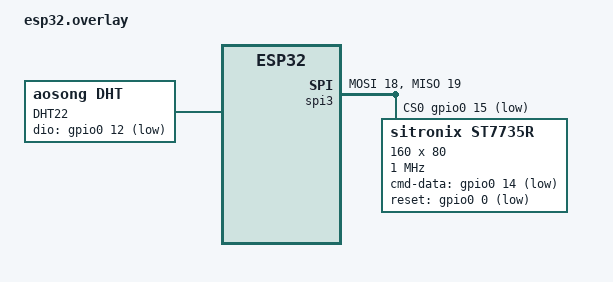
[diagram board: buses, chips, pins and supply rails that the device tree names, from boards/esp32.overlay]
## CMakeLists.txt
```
# Find Zephyr. This also loads Zephyr's build system.
cmake_minimum_required(VERSION 3.13.1)
find_package(Zephyr REQUIRED HINTS $ENV{ZEPHYR_BASE})
project(esp32_room_node)

target_sources(app PRIVATE
    src/main.c
    src/gui.c
    src/gui.h
    src/config.c
    src/config.h
)
```

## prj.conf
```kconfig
CONFIG_WIFI=n
#CONFIG_WIFI_ESP32=y
CONFIG_HEAP_MEM_POOL_SIZE=98304

CONFIG_NETWORKING=y
CONFIG_NET_L2_ETHERNET=y

CONFIG_NET_IPV6=n
CONFIG_NET_IPV4=y
CONFIG_NET_DHCPV4=y

CONFIG_NET_MGMT=y
CONFIG_NET_MGMT_EVENT=y

CONFIG_LOG_STRDUP_BUF_COUNT=16
#CONFIG_LOG_MODE_IMMEDIATE=y
CONFIG_LOG_PROCESS_THREAD_SLEEP_MS=20
CONFIG_NET_LOG=y
CONFIG_NET_SHELL=n

CONFIG_MBEDTLS=y
CONFIG_MBEDTLS_ENTROPY_ENABLED=y
CONFIG_MBEDTLS_KEY_EXCHANGE_ECDHE_ECDSA_ENABLED=y
CONFIG_MBEDTLS_ECP_ALL_ENABLED=y

CONFIG_SPI=y
CONFIG_SENSOR=y
CONFIG_DHT=y
CONFIG_SENSOR_LOG_LEVEL_DBG=y

CONFIG_CBPRINTF_FP_SUPPORT=y

# Display
CONFIG_DISPLAY=y
CONFIG_ST7735R=y
CONFIG_LVGL=y
CONFIG_LVGL_USE_LABEL=y
CONFIG_LVGL_USE_GROUP=y
CONFIG_LVGL_USE_CONT=y
CONFIG_LVGL_USE_BTN=y
CONFIG_LVGL_USE_CHECKBOX=y
CONFIG_LVGL_USE_PAGE=y
CONFIG_LVGL_USE_BAR=y
CONFIG_LVGL_USE_SLIDER=y
CONFIG_LVGL_USE_THEME_MATERIAL=y
CONFIG_LVGL_THEME_MATERIAL_DARK=y
CONFIG_LVGL_THEME_DEFAULT_COLOR_PRIMARY_WHITE=y
CONFIG_LVGL_THEME_DEFAULT_COLOR_SECONDARY_BLACK=y
CONFIG_LVGL_FONT_MONTSERRAT_32=y
CONFIG_LVGL_FONT_MONTSERRAT_16=y
CONFIG_LVGL_FONT_MONTSERRAT_10=y
CONFIG_LVGL_THEME_DEFAULT_FONT_SMALL_MONTSERRAT_16=y
CONFIG_LVGL_THEME_DEFAULT_FONT_NORMAL_MONTSERRAT_16=y
CONFIG_LVGL_DISPLAY_DEV_NAME="ST7735R"
CONFIG_LVGL_HOR_RES_MAX=160
CONFIG_LVGL_VER_RES_MAX=80
CONFIG_LVGL_BITS_PER_PIXEL=16
CONFIG_LVGL_COLOR_DEPTH_16=y
CONFIG_LVGL_COLOR_16_SWAP=y
CONFIG_LVGL_DPI=100
#CONFIG_LVGL_ANTIALIAS=y
CONFIG_LVGL_USE_ANIMATION=y
CONFIG_LVGL_LOG_LEVEL_WRN=y

CONFIG_PWM=y
CONFIG_PWM_LED_ESP32=y
CONFIG_PWM_LED_ESP32_HS_TIMER0_FREQ=50
CONFIG_PWM_LED_ESP32_HS_TIMER0_BIT_NUM=15

CONFIG_FLASH=y
CONFIG_FLASH_MAP=y
CONFIG_SETTINGS=y
CONFIG_NVS=y
```

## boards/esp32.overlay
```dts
/ {
	dht22 {
		compatible = "aosong,dht";
		status = "okay";
		label = "DHT22";
		dio-gpios = <&gpio0 12 (GPIO_PULL_UP | GPIO_ACTIVE_LOW)>;
		dht22;
	};
};

&spi3 {
    miso-pin = <19>;
	mosi-pin = <18>;
	sclk-pin = <5>;
	csel-pin = <15>;

    cs-gpios = <&gpio0 15 GPIO_ACTIVE_LOW>;

	st7735r@0 {
		compatible = "sitronix,st7735r";
		label = "ST7735R";
		spi-max-frequency = <1000000>;
		reg = <0>;
		cmd-data-gpios = <&gpio0 14 GPIO_ACTIVE_LOW>;
		reset-gpios = <&gpio0 0 GPIO_ACTIVE_LOW>;
		width = <160>;
		height = <80>;
		x-offset = <1>;
		y-offset = <26>;
		madctl = <0x60>;
		colmod = <0x55>;
		vmctr1 = <0x0e>;
		pwctr1 = [a2 02 84];
		pwctr2 = [c5];
		pwctr3 = [0a 00];
		pwctr4 = [8a 2a];
		pwctr5 = [8a ee];
		frmctr1 = [01 2c 2d];
		frmctr2 = [01 2c 2d];
		frmctr3 = [01 2c 2d 01 2c 2d];
		gamctrp1 = [02 1c 07 12 37 32 29 2d 29 25 2b 39 00 01 03 10];
		gamctrn1 = [03 1d 07 06 2e 2c 29 2d 2e 2e 37 3f 00 00 02 10];
	};
};
```

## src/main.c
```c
#include <logging/log.h>
#include <drivers/gpio.h>
#include <drivers/sensor.h>
#include <drivers/pwm.h>
#include <drivers/counter.h>
#include <sys/byteorder.h>
#include <lvgl.h>
#include <math.h>

#include "gui.h"
#include "config.h"

LOG_MODULE_REGISTER(main);

static const struct device *l_gpio0 = NULL;
static const struct device *l_gpio1 = NULL;
static const struct device *l_dht22 = NULL;
static const struct device *l_pwm = NULL;

static bool l_encoder_pressed;
static int l_encoder_position;

#define GPIO_PIN_LED 13
#define GPIO_PIN_SERVO 27
#define PWM_CHANNEL GPIO_PIN_SERVO
#define GPIO_PIN_BUTTON (34 - 32)  // "A2"
#define GPIO_PIN_ENC1   (39 - 32)  // "A3"
#define GPIO_PIN_ENC2   (36 - 32)  // "A4"

static void input_timer_cb(struct k_timer *timer_id);
K_TIMER_DEFINE(l_input_timer, input_timer_cb, NULL);


static int gpio_init()
{
    int rc;

    l_gpio0 = device_get_binding(DT_LABEL(DT_NODELABEL(gpio0)));
    if (!l_gpio0) {
        LOG_ERR("Failed to open GPIO0 device");
        return 1;
    }

    l_gpio1 = device_get_binding(DT_LABEL(DT_NODELABEL(gpio1)));
    if (!l_gpio1) {
        LOG_ERR("Failed to open GPIO1 device");
        return 1;
    }

    rc = gpio_pin_configure(l_gpio0, GPIO_PIN_LED, GPIO_OUTPUT_LOW);
    if (rc) {
        LOG_ERR("Error configuring pin");
        return 1;
    }

    return 0;
}

static int sensor_init()
{
    l_dht22 = device_get_binding(DT_LABEL(DT_INST(0, aosong_dht)));
    if (!l_dht22) {
        LOG_ERR("Failed to open DHT22");
        return 1;
    }

    return 0;
}

static int pwm_init()
{
    l_pwm = device_get_binding(CONFIG_PWM_LED_ESP32_DEV_NAME_0);
    if (!l_pwm) {
        LOG_ERR("Failed to open PWM device");
        return 1;
    }

    uint64_t cycles = 0;
    int rc = pwm_get_cycles_per_sec(l_pwm, PWM_CHANNEL, &cycles);
    if (rc) {
        LOG_ERR("Failed to get PWM cycles");
        return 1;
    }
    LOG_INF("PWM cycles %lld", cycles);

    return 0;
}

static int servo_set(float duty_ms)
{
    float duty = duty_ms * ((float)CONFIG_PWM_LED_ESP32_HS_TIMER0_FREQ / 1000);
    int period = (1 << CONFIG_PWM_LED_ESP32_HS_TIMER0_BIT_NUM) * duty;
    int rc = pwm_pin_set_cycles(l_pwm, PWM_CHANNEL, 0, period, 0);
    if (rc) {
        LOG_ERR("Failed to set PWM");
        return 1;
    }

    return 0;
}

static void input_timer_cb(struct k_timer *timer_id)
{
    static bool last_state[3];
    const bool state[3] = {
        !gpio_pin_get(l_gpio1, GPIO_PIN_BUTTON),
        !gpio_pin_get(l_gpio1, GPIO_PIN_ENC1),
        !gpio_pin_get(l_gpio1, GPIO_PIN_ENC2),
    };

    l_encoder_pressed = state[0];

    if (state[1] && !last_state[1]) {
        //LOG_INF("Knob %s", state[2] ? "-->" : "<--");
        l_encoder_position += state[2] ? -1 : 1;
    }

    memcpy(last_state, state, sizeof(state));
}

static bool encoder_read_cb(lv_indev_drv_t *drv, lv_indev_data_t*data)
{
    int encoder_position = l_encoder_position;
    static int last_encoder_position;

    data->enc_diff = encoder_position - last_encoder_position;
    data->state = l_encoder_pressed ? LV_INDEV_STATE_PR : LV_INDEV_STATE_REL;

    if (encoder_position - last_encoder_position) {
        LOG_INF("Encoder: %d", encoder_position - last_encoder_position);
    }

    last_encoder_position = encoder_position;
    return false;
}

static int input_init()
{
    int rc = gpio_pin_configure(l_gpio1, GPIO_PIN_BUTTON, GPIO_INPUT);
    if (rc) {
        LOG_ERR("Error configuring pin");
        return 1;
    }

    rc = gpio_pin_configure(l_gpio1, GPIO_PIN_ENC1, GPIO_INPUT);
    if (rc) {
        LOG_ERR("Error configuring pin");
        return 1;
    }

    rc = gpio_pin_configure(l_gpio1, GPIO_PIN_ENC2, GPIO_INPUT);
    if (rc) {
        LOG_ERR("Error configuring pin");
        return 1;
    }

    k_timer_start(&l_input_timer, K_MSEC(5), K_MSEC(2));

    return 0;
}

int main(int argc, char **argv)
{
    LOG_INF("Hello there");

    if (gpio_init()) {
        return 1;
    }

    if (config_init()) {
        return 1;
    }

    if (sensor_init()) {
        return 1;
    }

    if (gui_encoder_init(encoder_read_cb)) {
        return 1;
    }

    if (gui_init()) {
        return 1;
    }

    if (pwm_init()) {
        return 1;
    }

    if (input_init()) {
        return 1;
    }

    int call = 0;
    float wanted_duty = 0.0f;
    float set_duty = 0.0f;
    float temp_f = 0.0f;
    float rh_f = 0.0f;

    while (true) {
        k_sleep(K_MSEC(10));
        if (!(call++ % 128)) {
            gpio_pin_set(l_gpio0, GPIO_PIN_LED, 1);
            if (sensor_sample_fetch(l_dht22)) {
                LOG_ERR("Failed to fetch DHT22 sample");
            }
            gpio_pin_set(l_gpio0, GPIO_PIN_LED, 0);

            struct sensor_value temp;
            struct sensor_value rh;
            if (sensor_channel_get(l_dht22, SENSOR_CHAN_AMBIENT_TEMP, &temp)) {
                LOG_ERR("Failed to read temperature");
            }
            if (sensor_channel_get(l_dht22, SENSOR_CHAN_HUMIDITY, &rh)) {
                LOG_ERR("Failed to read humitidy");
            }

            temp_f = sensor_value_to_double(&temp);
            rh_f = sensor_value_to_double(&rh);

            if (gui_update(call, temp_f, rh_f)) {
                return 1;
            }
        }

        if (temp_f >= 27.0f) {
            config_get_float(CONFIG_IDX_SERVO_LEFT, &wanted_duty);
        }
        if (temp_f < 26.0f) {
            config_get_float(CONFIG_IDX_SERVO_RIGHT, &wanted_duty);
        }

        if (set_duty != wanted_duty) {
            set_duty = wanted_duty;
            if (servo_set(set_duty)) {
                return 1;
            }
        }

        gui_do();
    }

    return 0;
}
```

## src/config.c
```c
#include <logging/log.h>
#include <drivers/flash.h>
#include <storage/flash_map.h>
#include <fs/nvs.h>

#include "config.h"

LOG_MODULE_REGISTER(config);

static struct nvs_fs l_fs;
static float l_values[CONFIG_IDX__LAST] = {
    [CONFIG_IDX_SERVO_LEFT] = 1.0,
    [CONFIG_IDX_SERVO_RIGHT] = 2.0,
};


static int config_read_float(uint16_t addr, float *value)
{
    int rc = nvs_read(&l_fs, addr, value, sizeof(*value));
    return rc != sizeof(*value);
}

static int config_write_float(uint16_t addr, float value)
{
    int rc = nvs_write(&l_fs, addr, &value, sizeof(value));
    if (rc != sizeof(value)) {
        LOG_ERR("Failed to write to NVS");
        return 1;
    }
    return 0;
}

static int config_load(void)
{
    for (int addr = 0; addr < ARRAY_SIZE(l_values); addr++) {
        (void)config_read_float(addr, &l_values[addr]);
    }
    return 0;
}

int config_get_float(enum config_idx index, float *value)
{
    if (index >= ARRAY_SIZE(l_values)) {
        LOG_ERR("Get bad config index");
        return 1;
    }

    *value = l_values[index];
    return 0;
}

int config_set_float(enum config_idx index, float value)
{
    if (index >= ARRAY_SIZE(l_values)) {
        LOG_ERR("Set bad config index");
        return 1;
    }

    l_values[index] = value;
    return config_write_float(index, value);
}

int config_init(void)
{
    struct flash_pages_info page_info = {};
    int rc;

    const struct device *flash = device_get_binding(DT_LABEL(DT_NODELABEL(flash)));
    if (!flash) {
        LOG_ERR("Failed to open flash device");
        return 1;
    }

    const size_t area_size = FLASH_AREA_SIZE(storage);
    l_fs.offset = FLASH_AREA_OFFSET(storage);
    rc = flash_get_page_info_by_offs(flash, l_fs.offset, &page_info);
    if (rc) {
        LOG_ERR("Failed to get page info");
        return 1;
    }
    l_fs.sector_size = page_info.size;
    l_fs.sector_count = area_size / page_info.size;

    LOG_INF("Flash area at 0x%x, page size 0x%x, count %d",
            l_fs.offset, l_fs.sector_size, l_fs.sector_count);

    rc = nvs_init(&l_fs, DT_LABEL(DT_NODELABEL(flash)));
    if (rc) {
        LOG_ERR("Failed to open NVS");
        return 1;
    }

    return config_load();
}
```

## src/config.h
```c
#pragma once

enum config_idx {
    CONFIG_IDX_TRIGGER_TEMP,
    CONFIG_IDX_HYSTERESIS,
    CONFIG_IDX_SERVO_LEFT,   // ms
    CONFIG_IDX_SERVO_RIGHT,  // ms
    CONFIG_IDX__LAST
};

int config_init(void);
int config_get_float(enum config_idx index, float *value);
int config_set_float(enum config_idx index, float value);
```

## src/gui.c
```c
#include <logging/log.h>
#include <drivers/display.h>
#include <lvgl.h>
#include <sys/byteorder.h>

#include "gui.h"
#include "config.h"

LOG_MODULE_REGISTER(gui);

struct config_slider {
    lv_obj_t *slider;
    lv_obj_t *label;
    enum config_idx config_idx;
    const char *format_string;
    float min;
    float max;
    float step;
};

static const struct device *l_display = NULL;
static lv_indev_t *l_lv_encoder;
static lv_obj_t *l_lv_page;
static lv_obj_t *l_lv_temp;
static lv_obj_t *l_lv_rh;
static struct config_slider l_temp_slider = {
    .config_idx = CONFIG_IDX_TRIGGER_TEMP,
    .format_string = "Open at: %.1fC",
    .min = -50.0f,
    .max = 50.0f,
    .step = 0.1f,
};
static struct config_slider l_servo_left_slider = {
    .config_idx = CONFIG_IDX_SERVO_LEFT,
    .format_string = "Servo open: %.2fms",
    .min = 0.0f,
    .max = 3.0f,
    .step = 0.01f,
};
static struct config_slider l_servo_right_slider = {
    .config_idx = CONFIG_IDX_SERVO_RIGHT,
    .format_string = "Servo close: %.2fms",
    .min = 0.0f,
    .max = 3.0f,
    .step = 0.01f,
};

static lv_style_t l_lv_bg_style;
static lv_style_t l_lv_default_style;
static lv_style_t l_lv_slider_indic_style;
static lv_style_t l_lv_tiny_style;
static lv_style_t l_lv_value_style;
static lv_group_t *l_lv_main_group;

static void init_gauge_page(lv_obj_t *parent);
static void init_config_page(lv_obj_t *parent);


static void slider_event_cb(lv_obj_t * obj, lv_event_t event)
{
    struct config_slider *slider = lv_obj_get_user_data(obj);
    LOG_INF("Slider event for %p: %d", slider, event);

    switch (event) {
        case LV_EVENT_FOCUSED:
            // Scroll focused object into view
            lv_page_focus(l_lv_page, obj, LV_ANIM_ON);
            break;
        case LV_EVENT_VALUE_CHANGED: {
            char buffer[32];
            const int raw_value = lv_slider_get_value(obj);
            const float value = raw_value * slider->step;
            snprintf(buffer, sizeof(buffer), slider->format_string, value);
            lv_label_set_text(slider->label, buffer);
            (void)config_set_float(slider->config_idx, value);
            break;
        }
    }
}

static void event_cb(lv_obj_t * obj, lv_event_t event)
{
    switch (event) {
    case LV_EVENT_FOCUSED:
        // Scroll focused object into view
        lv_page_focus(l_lv_page, obj, LV_ANIM_ON);
        break;
    }
}

int gui_encoder_init(bool (read_cb)(lv_indev_drv_t*, lv_indev_data_t*))
{
    lv_indev_drv_t indev_drv;
    lv_indev_drv_init(&indev_drv);
    indev_drv.type = LV_INDEV_TYPE_ENCODER;
    indev_drv.read_cb = read_cb;
    l_lv_encoder = lv_indev_drv_register(&indev_drv);
    if (!l_lv_encoder) {
        LOG_ERR("Failed to register input driver");
        return 1;
    }
    return 0;
}

int gui_init()
{
    l_display = device_get_binding(DT_LABEL(DT_INST(0, sitronix_st7735r)));

    if (!l_display) {
        LOG_ERR("Failed to open display");
        return 1;
    }

    if (display_blanking_off(l_display)) {
        LOG_ERR("Display unblank failed");
        return 1;
    }

    struct display_capabilities caps;
    display_get_capabilities(l_display, &caps);

    lv_style_init(&l_lv_bg_style);
    lv_style_set_bg_color(&l_lv_bg_style, LV_STATE_DEFAULT, LV_COLOR_BLACK);
    lv_style_set_border_width(&l_lv_bg_style, LV_STATE_DEFAULT, 0);
    lv_style_set_pad_inner(&l_lv_bg_style, LV_STATE_DEFAULT, 0);
    lv_style_set_pad_top(&l_lv_bg_style, LV_STATE_DEFAULT, 0);
    lv_style_set_pad_bottom(&l_lv_bg_style, LV_STATE_DEFAULT, 0);
    lv_style_set_pad_left(&l_lv_bg_style, LV_STATE_DEFAULT, 0);
    lv_style_set_pad_right(&l_lv_bg_style, LV_STATE_DEFAULT, 0);
    lv_obj_add_style(lv_scr_act(), LV_OBJ_PART_MAIN, &l_lv_bg_style);

    lv_style_init(&l_lv_default_style);
    lv_style_set_text_color(&l_lv_default_style, LV_STATE_DEFAULT, LV_COLOR_WHITE);
    lv_style_set_text_color(&l_lv_default_style, LV_STATE_FOCUSED, LV_COLOR_YELLOW);
    lv_style_set_bg_color(&l_lv_default_style, LV_STATE_DEFAULT, LV_COLOR_GRAY);

    lv_style_init(&l_lv_slider_indic_style);
    lv_style_set_bg_color(&l_lv_slider_indic_style, LV_STATE_DEFAULT, LV_COLOR_GRAY);
    lv_style_set_bg_color(&l_lv_slider_indic_style, LV_STATE_FOCUSED, LV_COLOR_YELLOW);
    lv_style_set_bg_color(&l_lv_slider_indic_style, LV_STATE_EDITED, LV_COLOR_RED);

    lv_style_init(&l_lv_tiny_style);
    lv_style_set_text_color(&l_lv_tiny_style, LV_STATE_DEFAULT, LV_COLOR_GRAY);
    lv_style_set_text_font(&l_lv_tiny_style, 0, &lv_font_montserrat_16);

    lv_style_init(&l_lv_value_style);
    lv_style_set_text_color(&l_lv_value_style, LV_STATE_DEFAULT, LV_COLOR_WHITE);
    lv_style_set_text_font(&l_lv_value_style, 0, &lv_font_montserrat_32);

    l_lv_main_group = lv_group_create();
    lv_indev_set_group(l_lv_encoder, l_lv_main_group);

    l_lv_page = lv_page_create(lv_scr_act(), NULL);
    lv_obj_add_style(l_lv_page, LV_OBJ_PART_MAIN, &l_lv_bg_style);
    lv_obj_set_size(l_lv_page, LV_HOR_RES, LV_VER_RES);
    init_gauge_page(l_lv_page);

    lv_obj_t *container = lv_cont_create(l_lv_page, NULL);
    lv_obj_add_style(container, LV_OBJ_PART_MAIN, &l_lv_bg_style);
    lv_cont_set_fit(container, LV_FIT_TIGHT);
    lv_cont_set_layout(container, LV_LAYOUT_COLUMN_LEFT);
    lv_obj_set_pos(container, 0, LV_VER_RES);
    init_config_page(container);

    return 0;
}

static void create_config_slider(struct config_slider *s, lv_obj_t *parent)
{
    s->label = lv_label_create(parent, NULL);
    lv_label_set_text(s->label, s->format_string);

    const int min = s->min / s->step;
    const int max = s->max / s->step;

    s->slider = lv_slider_create(parent, NULL);
    lv_slider_set_range(s->slider, min, max);
    lv_obj_set_size(s->slider, 0.7 * LV_HOR_RES, 6);
    lv_obj_add_style(s->slider, LV_SLIDER_PART_INDIC, &l_lv_slider_indic_style);
    lv_group_add_obj(l_lv_main_group, s->slider);
    lv_obj_set_user_data(s->slider, s);
    lv_obj_set_event_cb(s->slider, slider_event_cb);

    float value = 0;
    (void)config_get_float(s->config_idx, &value);
    lv_slider_set_value(s->slider, value / s->step, LV_ANIM_OFF);
    slider_event_cb(s->slider, LV_EVENT_VALUE_CHANGED);
}

static void init_gauge_page(lv_obj_t *parent)
{
    l_lv_temp = lv_label_create(parent, NULL);   
    lv_obj_add_style(l_lv_temp, LV_OBJ_PART_MAIN, &l_lv_value_style);
    lv_obj_set_pos(l_lv_temp, 0, 0);

    l_lv_rh = lv_label_create(parent, NULL);
    lv_obj_add_style(l_lv_rh, LV_OBJ_PART_MAIN, &l_lv_value_style);
    lv_obj_set_pos(l_lv_rh, 0, LV_VER_RES - 30);

    lv_obj_t *lv_temp_label = lv_label_create(parent, NULL);   
    lv_obj_add_style(lv_temp_label, LV_OBJ_PART_MAIN, &l_lv_tiny_style);
    lv_label_set_text(lv_temp_label, "T");
    lv_obj_align(lv_temp_label, l_lv_temp, LV_ALIGN_OUT_BOTTOM_LEFT, 0, -8);

    lv_obj_t *lv_rh_label = lv_label_create(parent, NULL);
    lv_obj_add_style(lv_rh_label, LV_OBJ_PART_MAIN, &l_lv_tiny_style);
    lv_label_set_text(lv_rh_label, "RH%");
    lv_obj_align(lv_rh_label, l_lv_rh, LV_ALIGN_OUT_TOP_LEFT, 0, 8);   

    // Make the temp display focusable
    lv_group_add_obj(l_lv_main_group, l_lv_temp);
    lv_obj_set_event_cb(l_lv_temp, event_cb);
}

static void init_config_page(lv_obj_t *parent)
{
    create_config_slider(&l_temp_slider, parent);
    create_config_slider(&l_servo_left_slider, parent);
    create_config_slider(&l_servo_right_slider, parent);
}

int gui_update(int call, float temp, float rh)
{
    char buffer_t[8] = "";
    char buffer_rh[8] = "";
    snprintf(buffer_t, sizeof(buffer_t), "%.1fC", temp);
    snprintf(buffer_rh, sizeof(buffer_rh), "%.1f%%", rh);

    lv_label_set_text(l_lv_temp, buffer_t);
    lv_label_set_text(l_lv_rh, buffer_rh);

    LOG_INF("DHT22 temp: %s, RH: %s",
            log_strdup(buffer_t), log_strdup(buffer_rh));

    return 0;
}

int gui_do(void)
{
    lv_task_handler();
    return 0;
}
```

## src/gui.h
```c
#pragma once

int gui_init(void);
int gui_update(int call, float temp, float rh);
int gui_do(void);
int gui_encoder_init(bool (read_cb)(lv_indev_drv_t*, lv_indev_data_t*));
```
